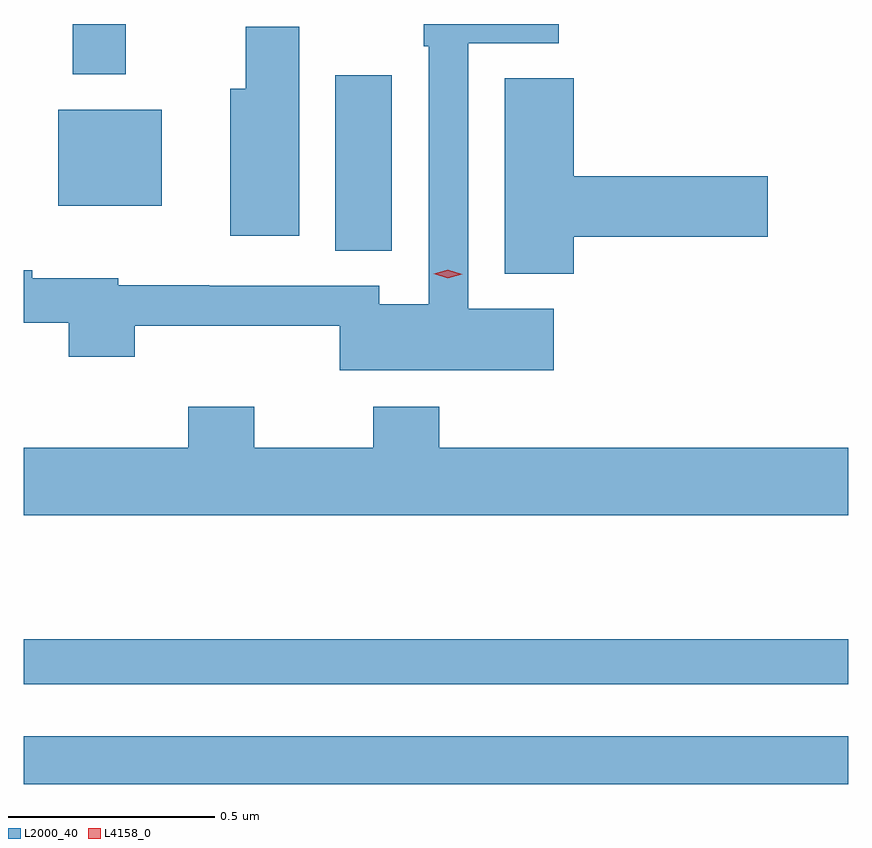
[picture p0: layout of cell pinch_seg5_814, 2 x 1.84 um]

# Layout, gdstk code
import gdstk
lib = gdstk.Library(unit=1e-6, precision=1e-09)
def R(c, l, rs):  # rectangles x0, y0, x1, y1
    for r in rs: c.add(gdstk.rectangle(r[:2], r[2:], *l))
def P(c, l, *ps):  # polygons
    for p in ps: c.add(gdstk.Polygon(p, *l))
L2000_40 = (2000, 40)
L4158_0 = (4158, 0)

pinch_seg5_814 = lib.new_cell('pinch_seg5_814')
R(pinch_seg5_814, L2000_40, [(781.088,904.06,783.088,904.176), (781.088,904.302,783.088,904.411), (781.844,905.353,781.981,905.779), (781.172,905.462,781.423,905.695), (781.207,905.781,781.336,905.903)])
P(pinch_seg5_814, L2000_40, [(782.374,905.212),(782.166,905.212),(782.166,905.856),(782.386,905.856),(782.386,905.903),(782.058,905.903),(782.058,905.849),(782.07,905.849),(782.07,905.224),(781.95,905.224),(781.95,905.268),(781.538,905.268),(781.538,905.27),(781.317,905.27),(781.317,905.287),(781.109,905.287),(781.109,905.306),(781.088,905.306),(781.088,905.178),(781.198,905.178),(781.198,905.096),(781.358,905.096),(781.358,905.171),(781.854,905.171),(781.854,905.063),(782.374,905.063)],
  [(781.756,905.896),(781.627,905.896),(781.627,905.746),(781.589,905.746),(781.589,905.39),(781.756,905.39)],
  [(782.422,905.387),(782.893,905.387),(782.893,905.534),(782.422,905.534),(782.422,905.771),(782.255,905.771),(782.255,905.297),(782.422,905.297)],
  [(783.088,904.876),(782.096,904.876),(782.096,904.975),(781.936,904.975),(781.936,904.876),(781.647,904.876),(781.647,904.975),(781.487,904.975),(781.487,904.876),(781.088,904.876),(781.088,904.712),(783.088,904.712)])
P(pinch_seg5_814, L4158_0, [(782.117,905.287),(782.083,905.297),(782.083,905.297),(782.083,905.297),(782.117,905.307),(782.152,905.296),(782.152,905.296),(782.152,905.296)])

lib.write_gds('pinch_seg5_814.gds')
